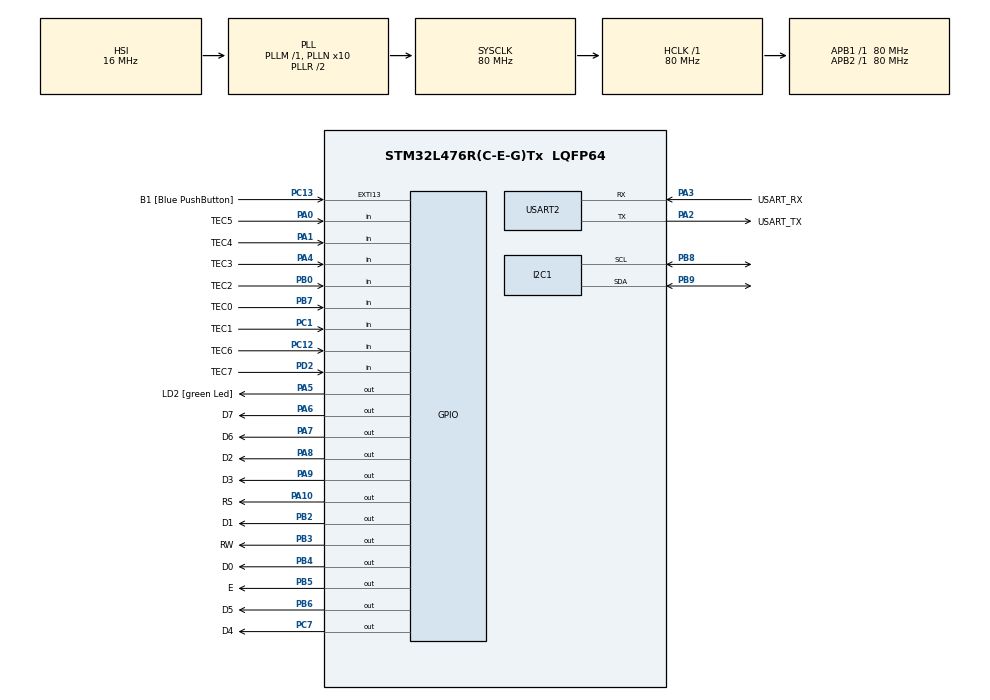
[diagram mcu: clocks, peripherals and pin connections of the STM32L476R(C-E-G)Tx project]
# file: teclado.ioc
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I2C1.Timing=0x10D19CE4
Mcu.Family=STM32L4
Mcu.Name=STM32L476R(C-E-G)Tx
Mcu.Package=LQFP64
NVIC.PriorityGroup=NVIC_PRIORITYGROUP_4
NVIC.TIM6_DAC_IRQn=true\:0\:0\:false\:false\:true\:true\:true\:true
NVIC.TIM7_IRQn=true\:0\:0\:false\:false\:true\:true\:true\:true
PA0.GPIO_Label=TEC5
PA0.Signal=GPIO_Input
PA1.GPIO_Label=TEC4
PA1.Signal=GPIO_Input
PA10.GPIO_Label=RS
PA10.GPIO_Speed=GPIO_SPEED_FREQ_VERY_HIGH
PA10.Signal=GPIO_Output
PA13\ (JTMS-SWDIO).GPIO_Label=TMS
PA13\ (JTMS-SWDIO).Mode=Serial_Wire
PA13\ (JTMS-SWDIO).Signal=SYS_JTMS-SWDIO
PA14\ (JTCK-SWCLK).GPIO_Label=TCK
PA14\ (JTCK-SWCLK).Mode=Serial_Wire
PA14\ (JTCK-SWCLK).Signal=SYS_JTCK-SWCLK
PA2.GPIO_Label=USART_TX
PA2.GPIO_Mode=GPIO_MODE_AF_PP
PA2.GPIO_PuPd=GPIO_NOPULL
PA2.GPIO_Speed=GPIO_SPEED_FREQ_VERY_HIGH
PA2.Mode=Asynchronous
PA2.Signal=USART2_TX
PA3.GPIO_Label=USART_RX
PA3.GPIO_Mode=GPIO_MODE_AF_PP
PA3.GPIO_PuPd=GPIO_NOPULL
PA3.GPIO_Speed=GPIO_SPEED_FREQ_VERY_HIGH
PA3.Mode=Asynchronous
PA3.Signal=USART2_RX
PA4.GPIO_Label=TEC3
PA4.GPIO_PuPd=GPIO_PULLUP
PA4.Signal=GPIO_Input
PA5.GPIO_Label=LD2 [green Led]
PA5.GPIO_ModeDefaultOutputPP=GPIO_MODE_OUTPUT_PP
PA5.GPIO_PuPd=GPIO_NOPULL
PA5.GPIO_Speed=GPIO_SPEED_FREQ_LOW
PA5.Signal=GPIO_Output
PA6.GPIO_Label=D7
PA6.GPIO_Speed=GPIO_SPEED_FREQ_VERY_HIGH
PA6.Signal=GPIO_Output
PA7.GPIO_Label=D6
PA7.GPIO_Speed=GPIO_SPEED_FREQ_VERY_HIGH
PA7.Signal=GPIO_Output
PA8.GPIO_Label=D2
PA8.GPIO_Speed=GPIO_SPEED_FREQ_VERY_HIGH
PA8.Signal=GPIO_Output
PA9.GPIO_Label=D3
PA9.GPIO_Speed=GPIO_SPEED_FREQ_VERY_HIGH
PA9.Signal=GPIO_Output
PB0.GPIO_Label=TEC2
PB0.GPIO_PuPd=GPIO_PULLUP
PB0.Signal=GPIO_Input
PB2.GPIO_Label=D1
PB2.GPIO_Speed=GPIO_SPEED_FREQ_VERY_HIGH
PB2.Signal=GPIO_Output
PB3\ (JTDO-TRACESWO).GPIO_Label=RW
PB3\ (JTDO-TRACESWO).GPIO_Speed=GPIO_SPEED_FREQ_VERY_HIGH
PB3\ (JTDO-TRACESWO).Signal=GPIO_Output
PB4\ (NJTRST).GPIO_Label=D0
PB4\ (NJTRST).GPIO_Speed=GPIO_SPEED_FREQ_VERY_HIGH
PB4\ (NJTRST).Signal=GPIO_Output
PB5.GPIO_Label=E
PB5.GPIO_Speed=GPIO_SPEED_FREQ_VERY_HIGH
PB5.Signal=GPIO_Output
PB6.GPIO_Label=D5
PB6.GPIO_Speed=GPIO_SPEED_FREQ_VERY_HIGH
PB6.Signal=GPIO_Output
PB7.GPIO_Label=TEC0
PB7.GPIO_PuPd=GPIO_PULLUP
PB7.Signal=GPIO_Input
PB8.Mode=I2C
PB8.Signal=I2C1_SCL
PB9.Mode=I2C
PB9.Signal=I2C1_SDA
PC1.GPIO_Label=TEC1
PC1.GPIO_PuPd=GPIO_PULLUP
PC1.Signal=GPIO_Input
PC12.GPIO_Label=TEC6
PC12.Signal=GPIO_Input
PC13.GPIO_Label=B1 [Blue PushButton]
PC13.GPIO_ModeDefaultEXTI=GPIO_MODE_IT_FALLING
PC13.GPIO_PuPd=GPIO_NOPULL
PC13.Signal=GPXTI13
PC14-OSC32_IN\ (PC14).Mode=LSE-External-Oscillator
PC14-OSC32_IN\ (PC14).Signal=RCC_OSC32_IN
PC15-OSC32_OUT\ (PC15).Mode=LSE-External-Oscillator
PC15-OSC32_OUT\ (PC15).Signal=RCC_OSC32_OUT
PC7.GPIO_Label=D4
PC7.GPIO_Speed=GPIO_SPEED_FREQ_VERY_HIGH
PC7.Signal=GPIO_Output
PD2.GPIO_Label=TEC7
PD2.Signal=GPIO_Input
PH0-OSC_IN\ (PH0).Signal=RCC_OSC_IN
PH1-OSC_OUT\ (PH1).Signal=RCC_OSC_OUT
ProjectManager.HeapSize=0x200
ProjectManager.StackSize=0x400
ProjectManager.TargetToolchain=STM32CubeIDE
RCC.ADCFreq_Value=64000000
RCC.AHBFreq_Value=80000000
RCC.APB1Freq_Value=80000000
RCC.APB1TimFreq_Value=80000000
RCC.APB2Freq_Value=80000000
RCC.APB2TimFreq_Value=80000000
RCC.CortexFreq_Value=80000000
RCC.HCLKFreq_Value=80000000
RCC.HSE_VALUE=8000000
RCC.HSI_VALUE=16000000
RCC.MSI_VALUE=4000000
RCC.PLLN=10
RCC.PLLSourceVirtual=RCC_PLLSOURCE_HSI
RCC.PREFETCH_ENABLE=1
RCC.SYSCLKFreq_VALUE=80000000
RCC.SYSCLKSource=RCC_SYSCLKSOURCE_PLLCLK
RCC.USBFreq_Value=64000000
RCC.VCOOutputFreq_Value=160000000
TIM6.Period=100-1
TIM6.Prescaler=8000-1
TIM7.Period=5000-1
TIM7.Prescaler=8000-1
USART2.VirtualMode-Asynchronous=VM_ASYNC
VP_TIM6_VS_ClockSourceINT.Mode=Enable_Timer
VP_TIM7_VS_ClockSourceINT.Mode=Enable_Timer
VP_TIM7_VS_OPM.Mode=OPM_bit
board=NUCLEO-L476RG

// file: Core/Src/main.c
/* USER CODE BEGIN Header */
/**
  ******************************************************************************
  * @file           : main.c
  * @brief          : Main program body
  ******************************************************************************
  * @attention
  *
  * <h2><center>&copy; Copyright (c) 2020 STMicroelectronics.
  * All rights reserved.</center></h2>
  *
  * This software component is licensed by ST under BSD 3-Clause license,
  * the "License"; You may not use this file except in compliance with the
  * License. You may obtain a copy of the License at:
  *                        opensource.org/licenses/BSD-3-Clause
  *
  ******************************************************************************
  */
/* USER CODE END Header */
#include "main.h"
#include "i2c.h"
#include "tim.h"
#include "usart.h"
#include "gpio.h"

/* USER CODE BEGIN Includes */
#include "keyboard.h"
#include <stdio.h>
#include <string.h>
#include "display.h"
#define AddressReg1 0x00
#define Reg0 (0<<7u | 3u<<4u | 3u)//00110011   /// CH [7] | Decseg[6-4] | Seg [3-0]
#define Reg1 ( 1u<<4u | 5u)	  /// x[7] | DecMin[6-4] | Min[3-0]
#define Reg2 ( 0<<6u | 1u<<4u | 2u)	  /// x[7] | 12-24 hrs_set [6] (24low) | DecHora[5-4] AM-PM[5] | Hora[3-0]
#define Reg3 ( 0b1)	  /// X[7-3] | Dia [2-0]
#define Reg4 ( 2<<4 | 7)  /// X[7-6] | DecFecha [5-4] | Fecha[3-0]
#define Reg5 (1<<4 | 0)   /// X[7-5] | DecMes [4] | Mes[3-0]
#define Reg6 ( 2<<4 | 6)   /// DecAño [7:4] | Año[3-0]
#define Reg7 0b00000000   /// Square/out config
/* USER CODE END Includes */

/* USER CODE BEGIN PTD */
uint8_t ActualizacionTeclado = 0;
uint8_t acumulador_actualizacion_display = 0;
/* USER CODE END PTD */

void SystemClock_Config(void);
/* USER CODE BEGIN PFP */

uint8_t RTCConfig[9] = {0x00,
						Reg0,
						Reg1,
						Reg2,
						Reg3,
						Reg4,
						Reg5,
						Reg6,
						Reg7
};
/* USER CODE END PFP */

int main(void)
{

  /* USER CODE BEGIN 1 */
	static uint8_t tx_buffer[20];

  /* USER CODE END 1 */

  /* MCU Configuration--------------------------------------------------------*/

  /* Reset of all peripherals, Initializes the Flash interface and the Systick. */
  HAL_Init();

  /* Configure the system clock */
  SystemClock_Config();

  /* Initialize all configured peripherals */
  MX_GPIO_Init();
  MX_USART2_UART_Init();
  MX_TIM6_Init();
  MX_TIM7_Init();
  MX_I2C1_Init();
  /* USER CODE BEGIN 2 */
	HAL_TIM_Base_Start_IT(&htim6);
	CS_Enable();
	HAL_Delay(100);

	HAL_I2C_Init(&hi2c2);
	//HAL_I2C_Master_Transmit(&hi2c2, SlaveAddW, RTCConfig, 9, 100);

	uint8_t tx_id[2] = {0xD0 | 0x80, 0x00}; // 0xD0|0x80 = 0xD0 (la dirección de ID del BME280 es 0xD0, bit7 ya es 1)
	uint8_t rx_id[2] = {0};

	 Config_BMX280();
	keyboard_init();
	//snprintf((char*)tx_buffer, 20, "Iniciando teclado\n");
	HAL_UART_Transmit(&huart2, tx_buffer, strlen((const char*)tx_buffer),1000);

	setvbuf(stdout, (char*)NULL, _IONBF, 0);
	display_init();
	display_test_write_cgram_ms();
	bienvenida();
	display_clear();
		display_set_pos(0x00);
		printf("     ELO312     \n\rGrupo 2");
		printf("%c %c %c", 0x02,0x02,0x02);
  /* USER CODE END 2 */

  /* Infinite loop */
  /* USER CODE BEGIN WHILE */
  while (1)
  {
	  if(ActualizacionTeclado){
		  keyboard_tec_matrix(); //funcion teclao cada 10[ms]

		  if((++acumulador_actualizacion_display)==100){
			  acumulador_actualizacion_display=0;
			  Actualizar_Display();
		  }

		  ActualizacionTeclado=0;
	  }

    /* USER CODE END WHILE */

  }
}

void SystemClock_Config(void)
{
  RCC_OscInitTypeDef RCC_OscInitStruct = {0};
  RCC_ClkInitTypeDef RCC_ClkInitStruct = {0};

  /** Configure the main internal regulator output voltage
  */
  if (HAL_PWREx_ControlVoltageScaling(PWR_REGULATOR_VOLTAGE_SCALE1) != HAL_OK)
  {
    Error_Handler();
  }

  /** Initializes the RCC Oscillators according to the specified parameters
  * in the RCC_OscInitTypeDef structure.
  */
  RCC_OscInitStruct.OscillatorType = RCC_OSCILLATORTYPE_HSI;
  RCC_OscInitStruct.HSIState = RCC_HSI_ON;
  RCC_OscInitStruct.HSICalibrationValue = RCC_HSICALIBRATION_DEFAULT;
  RCC_OscInitStruct.PLL.PLLState = RCC_PLL_ON;
  RCC_OscInitStruct.PLL.PLLSource = RCC_PLLSOURCE_HSI;
  RCC_OscInitStruct.PLL.PLLM = 1;
  RCC_OscInitStruct.PLL.PLLN = 10;
  RCC_OscInitStruct.PLL.PLLP = RCC_PLLP_DIV7;
  RCC_OscInitStruct.PLL.PLLQ = RCC_PLLQ_DIV2;
  RCC_OscInitStruct.PLL.PLLR = RCC_PLLR_DIV2;
  if (HAL_RCC_OscConfig(&RCC_OscInitStruct) != HAL_OK)
  {
    Error_Handler();
  }

  /** Initializes the CPU, AHB and APB buses clocks
  */
  RCC_ClkInitStruct.ClockType = RCC_CLOCKTYPE_HCLK|RCC_CLOCKTYPE_SYSCLK
                              |RCC_CLOCKTYPE_PCLK1|RCC_CLOCKTYPE_PCLK2;
  RCC_ClkInitStruct.SYSCLKSource = RCC_SYSCLKSOURCE_PLLCLK;
  RCC_ClkInitStruct.AHBCLKDivider = RCC_SYSCLK_DIV1;
  RCC_ClkInitStruct.APB1CLKDivider = RCC_HCLK_DIV1;
  RCC_ClkInitStruct.APB2CLKDivider = RCC_HCLK_DIV1;

  if (HAL_RCC_ClockConfig(&RCC_ClkInitStruct, FLASH_LATENCY_4) != HAL_OK)
  {
    Error_Handler();
  }
}

/* USER CODE BEGIN 4 */
void bienvenida(void){
	display_clear();
	display_set_pos(0x00);
	printf("  Sistema de   \n\rmedicion ELO312");
	HAL_Delay(2000);

	//message de vienbenida 2024
		//

}
int _write(int fd, char* ptr, int len)
{
    for(int i = 0; i < len ; i++)
    {
      display_putchar(ptr[i]);
    }
    return len;
}

/* USER CODE END 4 */

void Error_Handler(void)
{
}
